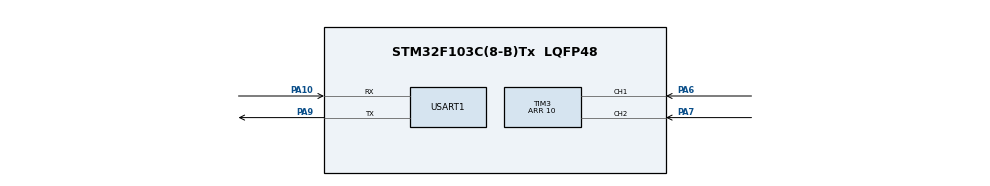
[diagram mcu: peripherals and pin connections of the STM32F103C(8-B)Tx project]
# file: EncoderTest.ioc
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Mcu.Family=STM32F1
Mcu.Name=STM32F103C(8-B)Tx
Mcu.Package=LQFP48
NVIC.PriorityGroup=NVIC_PRIORITYGROUP_4
PA10.Mode=Asynchronous
PA10.Signal=USART1_RX
PA13.Mode=Serial_Wire
PA13.Signal=SYS_JTMS-SWDIO
PA14.Mode=Serial_Wire
PA14.Signal=SYS_JTCK-SWCLK
PA6.Signal=S_TIM3_CH1
PA7.Signal=S_TIM3_CH2
PA9.Mode=Asynchronous
PA9.Signal=USART1_TX
ProjectManager.HeapSize=0x200
ProjectManager.StackSize=0x400
ProjectManager.TargetToolchain=MDK-ARM V5.32
RCC.APB1Freq_Value=8000000
RCC.APB2Freq_Value=8000000
SH.S_TIM3_CH1.0=TIM3_CH1,Encoder_Interface
SH.S_TIM3_CH2.0=TIM3_CH2,Encoder_Interface
TIM3.EncoderMode=TIM_ENCODERMODE_TI1
TIM3.Period=10
USART1.VirtualMode=VM_ASYNC
board=custom

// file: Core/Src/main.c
/* USER CODE BEGIN Header */
/**
  ******************************************************************************
  * @file           : main.c
  * @brief          : Main program body
  ******************************************************************************
  * @attention
  *
  * Copyright (c) 2025 STMicroelectronics.
  * All rights reserved.
  *
  * This software is licensed under terms that can be found in the LICENSE file
  * in the root directory of this software component.
  * If no LICENSE file comes with this software, it is provided AS-IS.
  *
  ******************************************************************************
  */
/* USER CODE END Header */
#include "main.h"

TIM_HandleTypeDef htim3;

UART_HandleTypeDef huart1;

void SystemClock_Config(void);
static void MX_GPIO_Init(void);
static void MX_TIM3_Init(void);
static void MX_USART1_UART_Init(void);

/* USER CODE BEGIN 0 */
#include <stdarg.h>
#include <stdio.h>
#include <string.h>

static void UART_Printf(const char *format, ...)
{
	char tmp[128];

	va_list argptr;
	va_start(argptr, format);
	vsprintf((char* )tmp, format, argptr);
	va_end(argptr);

	HAL_UART_Transmit(&huart1, (const uint8_t *)&tmp, strlen(tmp), HAL_MAX_DELAY);
}
/* USER CODE END 0 */

int main(void)
{

  /* MCU Configuration--------------------------------------------------------*/

  /* Reset of all peripherals, Initializes the Flash interface and the Systick. */
  HAL_Init();

  /* Configure the system clock */
  SystemClock_Config();

  /* Initialize all configured peripherals */
  MX_GPIO_Init();
  MX_TIM3_Init();
  MX_USART1_UART_Init();
  /* USER CODE BEGIN 2 */
	HAL_TIM_Encoder_Start(&htim3,TIM_CHANNEL_1);
	HAL_TIM_Encoder_Start(&htim3,TIM_CHANNEL_2);
  /* USER CODE END 2 */

  /* Infinite loop */
  /* USER CODE BEGIN WHILE */
  while (1)
  {
	  uint16_t CNT =__HAL_TIM_GET_COUNTER(&htim3);
	  UART_Printf("Encoder = %u\r\n",CNT);
	  HAL_Delay(200);
    /* USER CODE END WHILE */

  }
}

void SystemClock_Config(void)
{
  RCC_OscInitTypeDef RCC_OscInitStruct = {0};
  RCC_ClkInitTypeDef RCC_ClkInitStruct = {0};

  /** Initializes the RCC Oscillators according to the specified parameters
  * in the RCC_OscInitTypeDef structure.
  */
  RCC_OscInitStruct.OscillatorType = RCC_OSCILLATORTYPE_HSI;
  RCC_OscInitStruct.HSIState = RCC_HSI_ON;
  RCC_OscInitStruct.HSICalibrationValue = RCC_HSICALIBRATION_DEFAULT;
  RCC_OscInitStruct.PLL.PLLState = RCC_PLL_NONE;
  if (HAL_RCC_OscConfig(&RCC_OscInitStruct) != HAL_OK)
  {
    Error_Handler();
  }

  /** Initializes the CPU, AHB and APB buses clocks
  */
  RCC_ClkInitStruct.ClockType = RCC_CLOCKTYPE_HCLK|RCC_CLOCKTYPE_SYSCLK
                              |RCC_CLOCKTYPE_PCLK1|RCC_CLOCKTYPE_PCLK2;
  RCC_ClkInitStruct.SYSCLKSource = RCC_SYSCLKSOURCE_HSI;
  RCC_ClkInitStruct.AHBCLKDivider = RCC_SYSCLK_DIV1;
  RCC_ClkInitStruct.APB1CLKDivider = RCC_HCLK_DIV1;
  RCC_ClkInitStruct.APB2CLKDivider = RCC_HCLK_DIV1;

  if (HAL_RCC_ClockConfig(&RCC_ClkInitStruct, FLASH_LATENCY_0) != HAL_OK)
  {
    Error_Handler();
  }
}

static void MX_TIM3_Init(void)
{

  TIM_Encoder_InitTypeDef sConfig = {0};
  TIM_MasterConfigTypeDef sMasterConfig = {0};

  htim3.Instance = TIM3;
  htim3.Init.Prescaler = 0;
  htim3.Init.CounterMode = TIM_COUNTERMODE_UP;
  htim3.Init.Period = 10;
  htim3.Init.ClockDivision = TIM_CLOCKDIVISION_DIV1;
  htim3.Init.AutoReloadPreload = TIM_AUTORELOAD_PRELOAD_DISABLE;
  sConfig.EncoderMode = TIM_ENCODERMODE_TI1;
  sConfig.IC1Polarity = TIM_ICPOLARITY_RISING;
  sConfig.IC1Selection = TIM_ICSELECTION_DIRECTTI;
  sConfig.IC1Prescaler = TIM_ICPSC_DIV1;
  sConfig.IC1Filter = 0;
  sConfig.IC2Polarity = TIM_ICPOLARITY_RISING;
  sConfig.IC2Selection = TIM_ICSELECTION_DIRECTTI;
  sConfig.IC2Prescaler = TIM_ICPSC_DIV1;
  sConfig.IC2Filter = 0;
  if (HAL_TIM_Encoder_Init(&htim3, &sConfig) != HAL_OK)
  {
    Error_Handler();
  }
  sMasterConfig.MasterOutputTrigger = TIM_TRGO_RESET;
  sMasterConfig.MasterSlaveMode = TIM_MASTERSLAVEMODE_DISABLE;
  if (HAL_TIMEx_MasterConfigSynchronization(&htim3, &sMasterConfig) != HAL_OK)
  {
    Error_Handler();
  }

}

static void MX_USART1_UART_Init(void)
{

  huart1.Instance = USART1;
  huart1.Init.BaudRate = 115200;
  huart1.Init.WordLength = UART_WORDLENGTH_8B;
  huart1.Init.StopBits = UART_STOPBITS_1;
  huart1.Init.Parity = UART_PARITY_NONE;
  huart1.Init.Mode = UART_MODE_TX_RX;
  huart1.Init.HwFlowCtl = UART_HWCONTROL_NONE;
  huart1.Init.OverSampling = UART_OVERSAMPLING_16;
  if (HAL_UART_Init(&huart1) != HAL_OK)
  {
    Error_Handler();
  }

}

static void MX_GPIO_Init(void)
{

  /* GPIO Ports Clock Enable */
  __HAL_RCC_GPIOA_CLK_ENABLE();

}

void Error_Handler(void)
{
  __disable_irq();
  while (1)
  {
  }
}
